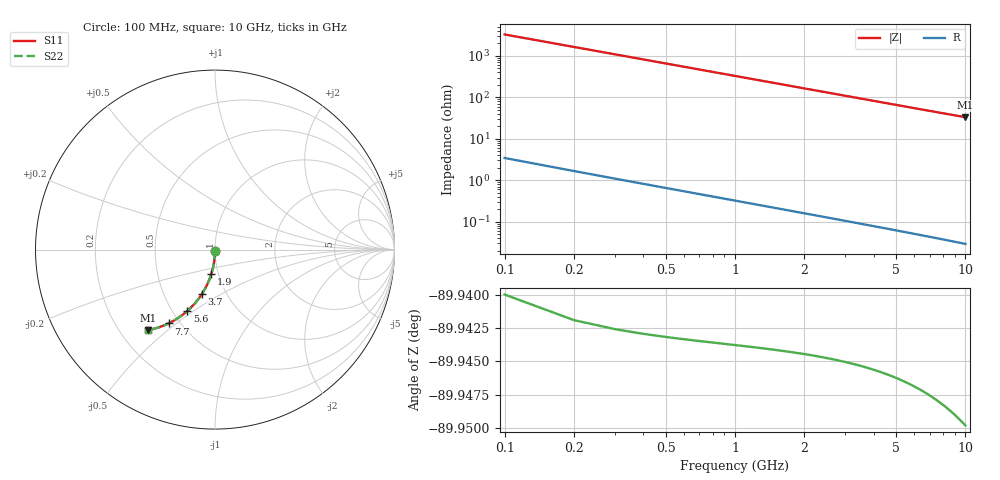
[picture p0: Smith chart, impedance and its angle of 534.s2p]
# Hz S RI R 50.00
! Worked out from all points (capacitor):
!   100 points, 100 MHz to 10 GHz, reference 50 ohm
!   read as one part in shunt: C = 484 fF near 100 MHz
!   lowest |Z| = 33.2 ohm at 10 GHz (marker M1)
!   S11 on the Smith chart (normalised r, x): 100 MHz: 1.00, -0.01; 1.9 GHz: 0.93, -0.26; 3.7 GHz: 0.77, -0.41; 5.6 GHz: 0.59, -0.47; 7.7 GHz: 0.44, -0.47; 10 GHz: 0.32, -0.43
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1e8  8.47e-05 -0.00726  0.9998 -0.00795  0.9998 -0.00795  8.47e-05 -0.00726
2e8  -9.49e-05 -0.0145  0.9996 -0.0159  0.9996 -0.0159  -9.49e-05 -0.0145
3e8  -0.00039 -0.0218  0.9993 -0.0238  0.9993 -0.0238  -0.00039 -0.0218
4e8  -0.0008 -0.029  0.9989 -0.0318  0.9989 -0.0318  -0.0008 -0.029
5e8  -0.00133 -0.0363  0.9984 -0.0397  0.9984 -0.0397  -0.00133 -0.0363
6e8  -0.00197 -0.0435  0.9977 -0.0476  0.9977 -0.0476  -0.00197 -0.0435
8e8  -0.00359 -0.0579  0.9961 -0.0634  0.9961 -0.0634  -0.00359 -0.0579
1.1e9  -0.00687 -0.0793  0.9928 -0.0869  0.9928 -0.0869  -0.00687 -0.0793
1.4e9  -0.0111 -0.1005  0.9885 -0.1102  0.9885 -0.1102  -0.0111 -0.1005
1.8e9  -0.0184 -0.1283  0.9812 -0.1407  0.9812 -0.1407  -0.0184 -0.1283
1.9e9  -0.0204 -0.1351  0.9792 -0.1482  0.9792 -0.1482  -0.0204 -0.1351
2.2e9  -0.0272 -0.1554  0.9723 -0.1705  0.9723 -0.1705  -0.0272 -0.1554
2.6e9  -0.0377 -0.1816  0.9618 -0.1995  0.9618 -0.1995  -0.0377 -0.1816
3.4e9  -0.0629 -0.2312  0.9365 -0.2546  0.9365 -0.2546  -0.0629 -0.2312
3.7e9  -0.0737 -0.2486  0.9256 -0.2742  0.9256 -0.2742  -0.0737 -0.2486
4.4e9  -0.1014 -0.2866  0.8978 -0.3171  0.8978 -0.3171  -0.1014 -0.2866
5.1e9  -0.1319 -0.3207  0.8672 -0.356  0.8672 -0.356  -0.1319 -0.3207
5.6e9  -0.155 -0.3425  0.8439 -0.3813  0.8439 -0.3813  -0.155 -0.3425
6.7e9  -0.2086 -0.383  0.79 -0.4296  0.79 -0.4296  -0.2086 -0.383
7.7e9  -0.259 -0.4112  0.7392 -0.4649  0.7392 -0.4649  -0.259 -0.4112
8.4e9  -0.2944 -0.4264  0.7036 -0.485  0.7036 -0.485  -0.2944 -0.4264
1e10  -0.3732 -0.4484  0.624 -0.5186  0.624 -0.5186  -0.3732 -0.4484
